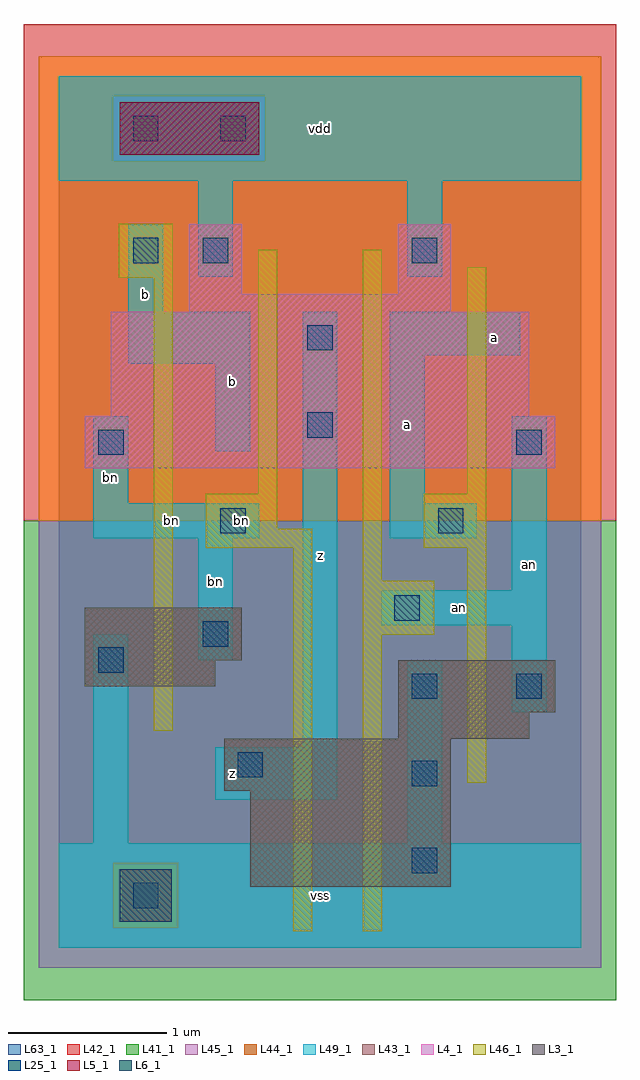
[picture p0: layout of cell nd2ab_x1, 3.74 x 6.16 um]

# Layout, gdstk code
import gdstk
lib = gdstk.Library(unit=1e-6, precision=1e-09)
def R(c, l, rs):  # rectangles x0, y0, x1, y1
    for r in rs: c.add(gdstk.rectangle(r[:2], r[2:], *l))
def A(c, l, x, y, w, h, nx, ny, dx, dy):  # array of equal rectangles
    R(c, l, [(x+i*dx, y+j*dy, x+i*dx+w, y+j*dy+h) for i in range(nx) for j in range(ny)])
L3_1 = (3, 1)
L4_1 = (4, 1)
L5_1 = (5, 1)
L6_1 = (6, 1)
L25_1 = (25, 1)
L41_1 = (41, 1)
L42_1 = (42, 1)
L43_1 = (43, 1)
L44_1 = (44, 1)
L45_1 = (45, 1)
L46_1 = (46, 1)
L49_1 = (49, 1)
L63_1 = (63, 1)

nd2ab_x1 = lib.new_cell('nd2ab_x1')
R(nd2ab_x1, L3_1, [(1.21,0.385,2.475,0.99), (1.045,0.99,2.475,1.32), (2.145,1.32,2.97,1.485), (2.145,1.485,3.135,1.815), (0.165,1.65,0.99,1.815), (0.165,1.815,1.155,2.145)])
R(nd2ab_x1, L4_1, [(0.165,3.025,3.135,3.355), (0.33,3.355,2.97,4.015), (0.825,4.015,2.475,4.125), (0.825,4.125,1.155,4.565), (2.145,4.125,2.475,4.565)])
R(nd2ab_x1, L5_1, [(0.385,5.005,1.265,5.335)])
R(nd2ab_x1, L6_1, [(0.385,0.165,0.715,0.495)])
A(nd2ab_x1, L25_1, 2.23, 0.47, 0.16, 0.16, 1, 3, 0, 0.55)
R(nd2ab_x1, L25_1, [(0.47,0.25,0.63,0.41), (1.13,1.075,1.29,1.235), (2.89,1.57,3.05,1.73), (0.25,1.735,0.41,1.895), (0.91,1.9,1.07,2.06), (2.12,2.065,2.28,2.225), (1.02,2.615,1.18,2.775), (2.395,2.615,2.555,2.775), (0.25,3.11,0.41,3.27), (2.89,3.11,3.05,3.27), (1.57,3.22,1.73,3.38), (1.57,3.77,1.73,3.93), (0.47,4.32,0.63,4.48), (0.91,4.32,1.07,4.48), (2.23,4.32,2.39,4.48), (0.47,5.09,0.63,5.25), (1.02,5.09,1.18,5.25)])
R(nd2ab_x1, L41_1, [(-0.22,-0.33,3.52,2.695)])
R(nd2ab_x1, L42_1, [(-0.22,2.695,3.52,5.83)])
R(nd2ab_x1, L43_1, [(0.385,0.165,0.715,0.495), (1.21,0.385,2.475,0.99), (1.045,0.99,2.475,1.32), (2.145,1.32,2.97,1.485), (2.145,1.485,3.135,1.815), (0.165,1.65,0.99,1.815), (0.165,1.815,1.155,2.145), (0.165,3.025,3.135,3.355), (0.33,3.355,2.97,4.015), (0.825,4.015,2.475,4.125), (0.825,4.125,1.155,4.565), (2.145,4.125,2.475,4.565), (0.385,5.005,1.265,5.335)])
R(nd2ab_x1, L44_1, [(0.345,0.125,0.755,0.535), (-0.125,2.695,3.425,4.965), (-0.125,4.965,0.345,5.375), (1.305,4.965,3.425,5.375), (-0.125,5.375,3.425,5.625)])
R(nd2ab_x1, L45_1, [(-0.125,-0.125,3.425,0.125), (-0.125,0.125,0.345,0.535), (0.755,0.125,3.425,0.535), (-0.125,0.535,3.425,2.695), (0.345,4.965,1.305,5.375)])
R(nd2ab_x1, L46_1, [(1.48,0.105,1.6,2.525), (1.92,0.105,2.04,1.975), (2.58,1.04,2.7,2.525), (0.6,1.37,0.72,4.23), (1.92,1.975,2.37,2.315), (1.92,2.315,2.04,4.405), (0.93,2.525,1.6,2.645), (2.305,2.525,2.7,2.865), (0.93,2.645,1.38,2.865), (1.26,2.865,1.38,4.405), (2.58,2.865,2.7,4.295), (0.38,4.23,0.72,4.57)])
R(nd2ab_x1, L49_1, [(0,0,3.3,0.66), (0.22,0.66,0.44,1.98), (2.2,0.66,2.42,1.815), (0.99,0.935,1.76,1.265), (1.54,1.265,1.76,4.015), (2.86,1.485,3.08,2.035), (0.88,1.815,1.1,2.585), (2.035,2.035,3.08,2.255), (2.86,2.255,3.08,3.355), (0.22,2.585,1.265,2.805), (2.09,2.585,2.64,2.805), (0.22,2.805,0.44,3.355), (2.09,2.805,2.31,3.74), (0.99,3.135,1.21,3.685), (0.44,3.685,1.21,4.015), (2.09,3.74,2.915,4.015), (0.44,4.015,0.66,4.565), (0.88,4.235,1.1,4.84), (2.2,4.235,2.42,4.84), (0,4.84,3.3,5.5)])
R(nd2ab_x1, L63_1, [(0,0,3.3,5.5)])
nd2ab_x1.add(gdstk.Label('bn', (1.155,2.695), layer=49, texttype=1))
nd2ab_x1.add(gdstk.Label('bn', (0.33,2.97), layer=49, texttype=1))
nd2ab_x1.add(gdstk.Label('b', (0.55,4.125), layer=49, texttype=1))
nd2ab_x1.add(gdstk.Label('b', (0.55,4.125), layer=49, texttype=1))
nd2ab_x1.add(gdstk.Label('z', (1.1,1.1), layer=49, texttype=1))
nd2ab_x1.add(gdstk.Label('z', (1.1,1.1), layer=49, texttype=1))
nd2ab_x1.add(gdstk.Label('bn', (0.99,2.31), layer=49, texttype=1))
nd2ab_x1.add(gdstk.Label('bn', (0.715,2.695), layer=49, texttype=1))
nd2ab_x1.add(gdstk.Label('b', (1.1,3.575), layer=49, texttype=1))
nd2ab_x1.add(gdstk.Label('b', (1.1,3.575), layer=49, texttype=1))
nd2ab_x1.add(gdstk.Label('vss', (1.65,0.33), layer=49, texttype=1))
nd2ab_x1.add(gdstk.Label('vss', (1.65,0.33), layer=49, texttype=1))
nd2ab_x1.add(gdstk.Label('z', (1.65,2.475), layer=49, texttype=1))
nd2ab_x1.add(gdstk.Label('z', (1.65,2.475), layer=49, texttype=1))
nd2ab_x1.add(gdstk.Label('a', (2.2,3.3), layer=49, texttype=1))
nd2ab_x1.add(gdstk.Label('a', (2.2,3.3), layer=49, texttype=1))
nd2ab_x1.add(gdstk.Label('vdd', (1.65,5.17), layer=49, texttype=1))
nd2ab_x1.add(gdstk.Label('vdd', (1.65,5.17), layer=49, texttype=1))
nd2ab_x1.add(gdstk.Label('an', (2.53,2.145), layer=49, texttype=1))
nd2ab_x1.add(gdstk.Label('an', (2.97,2.42), layer=49, texttype=1))
nd2ab_x1.add(gdstk.Label('a', (2.75,3.85), layer=49, texttype=1))
nd2ab_x1.add(gdstk.Label('a', (2.75,3.85), layer=49, texttype=1))

lib.write_gds('nd2ab_x1.gds')
